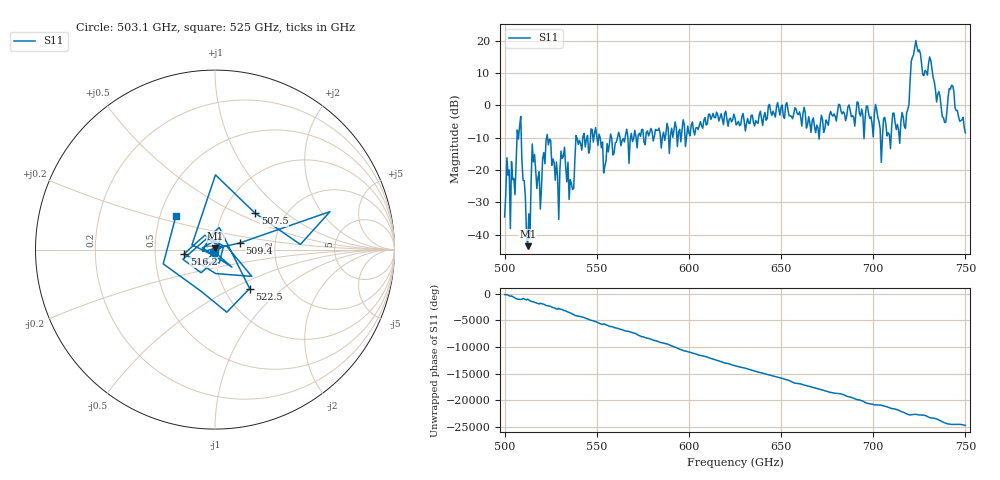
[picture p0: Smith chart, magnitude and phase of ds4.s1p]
# GHz S RI R 50
!freq	ReS11	ImS11
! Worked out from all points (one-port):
!   401 points, 500 GHz to 750 GHz, reference 50 ohm
!   lowest |S11| = -43.5 dB at 512.5 GHz (marker M1), VSWR 1.01, Z = 50.2 + j0.645 ohm
!   |S11| at or under -10 dB: start of sweep to 506.7 GHz; 509.1 GHz to 522.8 GHz (13.71 GHz wide, 2.66 % of centre); 523.3 GHz to 538.7 GHz (15.37 GHz wide, 2.89 % of centre) (the widest 3 of 28)
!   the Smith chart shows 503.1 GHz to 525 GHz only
!   S11 on the Smith chart (normalised r, x): 503.1 GHz: 0.99, -0.02; 507.5 GHz: 1.41, +0.63; 509.4 GHz: 1.32, +0.10; 516.2 GHz: 0.71, -0.03; 522.5 GHz: 1.31, -0.62; 525 GHz: 0.60, +0.25
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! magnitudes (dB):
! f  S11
! 500 GHz  -34.5
! 503.1 GHz  -38.1
! 504.4 GHz  -23.0
! 507.5 GHz  -10.4
! 509.4 GHz  -16.9
! 512.5 GHz  -43.5
! 516.2 GHz  -15.2
! 518.8 GHz  -20.5
! 522.5 GHz  -10.7
! 525 GHz  -10.8
! 528.8 GHz  -22.0
! 531.2 GHz  -16.4
! 536.2 GHz  -24.2
! 540 GHz  -12.1
! 548.1 GHz  -11.4
! 555 GHz  -17.3
! 562.5 GHz  -9.7
! 593.8 GHz  -12.7
! 625 GHz  -3.8
! 656.2 GHz  -4.1
! 687.5 GHz  -1.5
! 708.8 GHz  -9.1
! 718.8 GHz  -1.2
! 723.8 GHz  18.1
! 731.2 GHz  13.9
! 738.1 GHz  -3.8
! 742.5 GHz  6.2
! 750 GHz  -8.5
